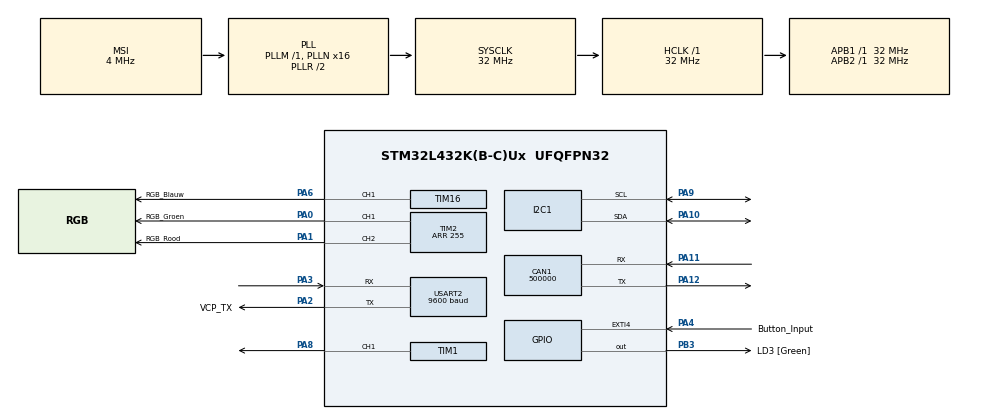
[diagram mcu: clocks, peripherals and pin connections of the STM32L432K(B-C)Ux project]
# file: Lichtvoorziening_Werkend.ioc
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CAN1.BS1=CAN_BS1_2TQ
CAN1.CalculateBaudRate=500000
CAN1.CalculateTimeBit=2000
CAN1.CalculateTimeQuantum=500.0
CAN1.NART=ENABLE
Dma.Request0=TIM1_CH1
Dma.TIM1_CH1.0.Direction=DMA_MEMORY_TO_PERIPH
Dma.TIM1_CH1.0.Instance=DMA1_Channel2
Dma.TIM1_CH1.0.MemDataAlignment=DMA_MDATAALIGN_HALFWORD
Dma.TIM1_CH1.0.MemInc=DMA_MINC_ENABLE
Dma.TIM1_CH1.0.Mode=DMA_CIRCULAR
Dma.TIM1_CH1.0.PeriphDataAlignment=DMA_PDATAALIGN_HALFWORD
Dma.TIM1_CH1.0.PeriphInc=DMA_PINC_DISABLE
Dma.TIM1_CH1.0.Priority=DMA_PRIORITY_LOW
I2C1.Timing=0x00B07CB4
Mcu.Family=STM32L4
Mcu.Name=STM32L432K(B-C)Ux
Mcu.Package=UFQFPN32
NVIC.CAN1_RX0_IRQn=true\:0\:0\:false\:false\:true\:true\:true\:true
NVIC.DMA1_Channel2_IRQn=true\:0\:0\:false\:false\:true\:false\:true\:true
NVIC.EXTI4_IRQn=true\:0\:0\:false\:false\:true\:true\:true\:true
NVIC.PriorityGroup=NVIC_PRIORITYGROUP_4
PA0.GPIO_Label=RGB_Groen
PA0.Signal=S_TIM2_CH1
PA1.GPIO_Label=RGB_Rood
PA1.Signal=S_TIM2_CH2
PA10.GPIO_Pu=GPIO_PULLUP
PA10.Mode=I2C
PA10.Signal=I2C1_SDA
PA11.Mode=CAN_Activate
PA11.Signal=CAN1_RX
PA12.Mode=CAN_Activate
PA12.Signal=CAN1_TX
PA13\ (JTMS-SWDIO).GPIO_Label=SWDIO
PA13\ (JTMS-SWDIO).Mode=Serial_Wire
PA13\ (JTMS-SWDIO).Signal=SYS_JTMS-SWDIO
PA14\ (JTCK-SWCLK).GPIO_Label=SWCLK
PA14\ (JTCK-SWCLK).Mode=Serial_Wire
PA14\ (JTCK-SWCLK).Signal=SYS_JTCK-SWCLK
PA2.GPIO_Label=VCP_TX
PA2.Mode=Asynchronous
PA2.Signal=USART2_TX
PA3.Mode=Asynchronous
PA3.Signal=USART2_RX
PA4.GPIO_Label=Button_Input
PA4.GPIO_ModeDefaultEXTI=GPIO_MODE_IT_FALLING
PA4.GPIO_PuPd=GPIO_PULLUP
PA4.Signal=GPXTI4
PA6.GPIO_Label=RGB_Blauw
PA6.Signal=S_TIM16_CH1
PA8.Signal=S_TIM1_CH1
PA9.GPIO_Pu=GPIO_PULLUP
PA9.Mode=I2C
PA9.Signal=I2C1_SCL
PB3\ (JTDO-TRACESWO).GPIO_Label=LD3 [Green]
PB3\ (JTDO-TRACESWO).Signal=GPIO_Output
PC14-OSC32_IN\ (PC14).Mode=LSE-External-Oscillator
PC14-OSC32_IN\ (PC14).Signal=RCC_OSC32_IN
PC15-OSC32_OUT\ (PC15).Mode=LSE-External-Oscillator
PC15-OSC32_OUT\ (PC15).Signal=RCC_OSC32_OUT
ProjectManager.HeapSize=0x200
ProjectManager.StackSize=0x400
ProjectManager.TargetToolchain=STM32CubeIDE
RCC.AHBFreq_Value=32000000
RCC.APB1Freq_Value=32000000
RCC.APB1TimFreq_Value=32000000
RCC.APB2Freq_Value=32000000
RCC.APB2TimFreq_Value=32000000
RCC.CortexFreq_Value=32000000
RCC.HCLKFreq_Value=32000000
RCC.HSE_VALUE=8000000
RCC.HSI16_VALUE=16000000
RCC.HSI48_VALUE=48000000
RCC.HSI_VALUE=16000000
RCC.MSI_VALUE=4000000
RCC.PLLMUL=RCC_PLLMUL_4
RCC.PLLN=16
RCC.SYSCLKFreq_VALUE=32000000
RCC.SYSCLKSource=RCC_SYSCLKSOURCE_PLLCLK
RCC.VCOOutputFreq_Value=64000000
SH.S_TIM16_CH1.0=TIM16_CH1,PWM Generation1 CH1
SH.S_TIM1_CH1.0=TIM1_CH1,PWM Generation1 CH1
SH.S_TIM2_CH1.0=TIM2_CH1,PWM Generation1 CH1
SH.S_TIM2_CH2.0=TIM2_CH2,PWM Generation2 CH2
TIM1.Channel-PWM\ Generation1\ CH1=TIM_CHANNEL_1
TIM1.Channel-PWM\ Generation3\ CH3=TIM_CHANNEL_3
TIM1.Period=99
TIM1.Pulse-PWM\ Generation1\ CH1=32
TIM16.Channel=TIM_CHANNEL_1
TIM16.Period=255
TIM16.Prescaler=124
TIM2.Channel-PWM\ Generation1\ CH1=TIM_CHANNEL_1
TIM2.Channel-PWM\ Generation2\ CH2=TIM_CHANNEL_2
TIM2.Period=255
USART2.BaudRate=9600
USART2.VirtualMode-Asynchronous=VM_ASYNC
VP_TIM16_VS_ClockSourceINT.Mode=Enable_Timer
board=NUCLEO-L432KC

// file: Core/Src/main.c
/* USER CODE BEGIN Header */
/**
 ******************************************************************************
 * @file           : main.c
 * @brief          : Main program body
 ******************************************************************************
 * @attention
 *
 * Copyright (c) 2026 STMicroelectronics.
 * All rights reserved.
 *
 * This software is licensed under terms that can be found in the LICENSE file
 * in the root directory of this software component.
 * If no LICENSE file comes with this software, it is provided AS-IS.
 *
 ******************************************************************************
 */
/* USER CODE END Header */
#include "main.h"

/* USER CODE BEGIN Includes */
#include "ws2812b.h"
#include <string.h>
#include <stdio.h>
/* USER CODE END Includes */

CAN_HandleTypeDef hcan1;

I2C_HandleTypeDef hi2c1;

TIM_HandleTypeDef htim1;
TIM_HandleTypeDef htim2;
TIM_HandleTypeDef htim16;
DMA_HandleTypeDef hdma_tim1_ch1;

UART_HandleTypeDef huart2;

/* USER CODE BEGIN PV */
volatile uint8_t button_pressed = 0;
volatile uint32_t last_sensor_tick = 0;
volatile uint32_t led_on_tick = 0;
volatile uint8_t led_on = 0;
volatile uint32_t canbusTick = 0;
volatile uint32_t cooldown_tick = 0;

CAN_TxHeaderTypeDef TxHeader;
CAN_RxHeaderTypeDef RxHeader;
uint8_t TxData[8];
uint8_t RxData[8];
uint32_t TxMailbox;
uint8_t datacheck = 0;
uint8_t RTRReceived = 0;

uint8_t huidigeKleur = 10;
volatile uint8_t noodActief = 0;
uint8_t helderheid = 255;

typedef struct {
	uint8_t r;
	uint8_t g;
	uint8_t b;
} Color;

static const Color mc_colors[26] = { { 0, 0, 170 },       // 0 Blue
		{ 0, 170, 0 },       // 1 Green
		{ 0, 170, 170 },     // 2 Aqua
		{ 170, 0, 0 },       // 3 Red
		{ 170, 0, 170 },     // 4 Purple
		{ 255, 170, 0 },     // 5 Amber
		{ 85, 85, 255 },     // 6 licht blauw
		{ 85, 255, 85 },     // 7 mint Green
		{ 255, 85, 85 },     // 8 Roze
		{ 255, 85, 255 },    // 9 Light Purple
		{ 255, 255, 40 },    // 10 licht Geel
		{ 255, 255, 255 },   // 11 White
		};
/* USER CODE END PV */

void SystemClock_Config(void);
static void MX_GPIO_Init(void);
static void MX_DMA_Init(void);
static void MX_I2C1_Init(void);
static void MX_TIM1_Init(void);
static void MX_USART2_UART_Init(void);
static void MX_CAN1_Init(void);
static void MX_TIM2_Init(void);
static void MX_TIM16_Init(void);
/* USER CODE BEGIN PFP */
void SGP30_Init(void);
uint16_t SGP30_ReadCO2(void);
static void chase_tick(int step);
void SHT3x_Read(float *temp);
void SendCanMessage(int dataLength, uint64_t data, uint16_t canID);
/* USER CODE END PFP */

/* USER CODE BEGIN 0 */
void Safe_Delay(int ms) {
	uint32_t start = HAL_GetTick();
	while (HAL_GetTick() - start < ms) {
		if (noodActief)
			return;
	}
}

void SGP30_Init(void) {
	uint8_t cmd[2] = { 0x20, 0x03 };
	HAL_I2C_Master_Transmit(&hi2c1, 0x58 << 1, cmd, 2, HAL_MAX_DELAY);
}

uint16_t SGP30_ReadCO2(void) {
	uint8_t cmd[2] = { 0x20, 0x08 };
	HAL_I2C_Master_Transmit(&hi2c1, 0x58 << 1, cmd, 2, HAL_MAX_DELAY);

	uint32_t start = HAL_GetTick();
	while (HAL_GetTick() - start < 12)
		;

	uint8_t buf[6];
	HAL_I2C_Master_Receive(&hi2c1, 0x58 << 1, buf, 6, HAL_MAX_DELAY);

	return (uint16_t) ((buf[0] << 8) | buf[1]);
}

static void chase_tick(int step) {
	WS2812B_Clear();
	int spacing = WS2812B_NUM_LEDS / 3;

	for (int r = 0; r < 3; r++) {
		int i = (step + r * spacing) % WS2812B_NUM_LEDS;

		WS2812B_SetLED(i, 8, 0, 0);
		if (i - 1 >= 0)
			WS2812B_SetLED(i - 1, 25, 0, 0);
		if (i - 2 >= 0)
			WS2812B_SetLED(i - 2, 80, 0, 0);
	}
}

void RGB_Set(uint8_t r, uint8_t g, uint8_t b, uint8_t helderheid) {
	// scale 0–255 brightness
	uint16_t rr = (r * helderheid) / 255;
	uint16_t gg = (g * helderheid) / 255;
	uint16_t bb = (b * helderheid) / 255;

	__HAL_TIM_SET_COMPARE(&htim2, TIM_CHANNEL_1, gg);
	__HAL_TIM_SET_COMPARE(&htim2, TIM_CHANNEL_2, rr);
	__HAL_TIM_SET_COMPARE(&htim16, TIM_CHANNEL_1, bb);
}
/* USER CODE END 0 */

int main(void)
{

  /* MCU Configuration--------------------------------------------------------*/

  /* Reset of all peripherals, Initializes the Flash interface and the Systick. */
  HAL_Init();

  /* Configure the system clock */
  SystemClock_Config();

  /* Initialize all configured peripherals */
  MX_GPIO_Init();
  MX_DMA_Init();
  MX_I2C1_Init();
  MX_TIM1_Init();
  MX_USART2_UART_Init();
  MX_CAN1_Init();
  MX_TIM2_Init();
  MX_TIM16_Init();
  /* USER CODE BEGIN 2 */
	char startup[] = "STM32 gestart!\r\n";
	HAL_UART_Transmit(&huart2, (uint8_t*) startup, strlen(startup), 1000);
	SGP30_Init();
	WS2812B_Init();
	HAL_TIM_PWM_Start(&htim2, TIM_CHANNEL_1); // Red
	HAL_TIM_PWM_Start(&htim2, TIM_CHANNEL_2); // Green
	HAL_TIM_PWM_Start(&htim16, TIM_CHANNEL_1); // Blue

	for (int i = 0; i < WS2812B_NUM_LEDS; i++) {
		WS2812B_SetLED(i, 255, 255, 255);
	}

	CAN_FilterTypeDef canfilterconfig;

	/* Common filter settings */
	canfilterconfig.FilterActivation = CAN_FILTER_ENABLE;
	canfilterconfig.FilterFIFOAssignment = CAN_FILTER_FIFO0;
	canfilterconfig.FilterMode = CAN_FILTERMODE_IDMASK;
	canfilterconfig.FilterScale = CAN_FILTERSCALE_32BIT;
	canfilterconfig.SlaveStartFilterBank = 10;

	/* Filter 0 -> 0x200 */
	canfilterconfig.FilterBank = 0;
	canfilterconfig.FilterIdHigh = (0x001 << 5);
	canfilterconfig.FilterIdLow = 0;
	canfilterconfig.FilterMaskIdHigh = (0x7FF << 5);
	canfilterconfig.FilterMaskIdLow = 0;
	HAL_CAN_ConfigFilter(&hcan1, &canfilterconfig);

	/* Filter 1 -> 0x210 */
	canfilterconfig.FilterBank = 1;
	canfilterconfig.FilterIdHigh = (0x100 << 5);
	HAL_CAN_ConfigFilter(&hcan1, &canfilterconfig);

	/* Filter 2 -> 0x001 */
	canfilterconfig.FilterBank = 2;
	canfilterconfig.FilterIdHigh = (0x110 << 5);
	HAL_CAN_ConfigFilter(&hcan1, &canfilterconfig);

	/* Filter 3 -> 0x300 */
	canfilterconfig.FilterBank = 3;
	canfilterconfig.FilterIdHigh = (0x410 << 5);
	HAL_CAN_ConfigFilter(&hcan1, &canfilterconfig);

	/* Filter 4 -> 0x310 */
	canfilterconfig.FilterBank = 4;
	canfilterconfig.FilterIdHigh = (0x420 << 5);
	HAL_CAN_ConfigFilter(&hcan1, &canfilterconfig);

	if (HAL_CAN_Start(&hcan1) != HAL_OK) {
		Error_Handler();
	}

	TxHeader.IDE = CAN_ID_STD;
	TxHeader.RTR = CAN_RTR_DATA;
	TxHeader.DLC = 1;

	if (HAL_CAN_ActivateNotification(&hcan1, CAN_IT_RX_FIFO0_MSG_PENDING)
			!= HAL_OK) {
		Error_Handler();
	}
	HAL_Delay(100);
  /* USER CODE END 2 */

  /* Infinite loop */
  /* USER CODE BEGIN WHILE */
	while (1) {
		if (!led_on) {
		    led_on_tick = HAL_GetTick();
		    for (int i = 0; i <= WS2812B_NUM_LEDS; i++) {
		        WS2812B_SetLED(i, 0, 0, 0);
		    }
		}

		if (button_pressed) {
		    button_pressed = 0;
		    if (!led_on && (HAL_GetTick() - cooldown_tick >= 5000)) {
		        led_on = 1;
		        Color c = mc_colors[huidigeKleur];
		        RGB_Set(c.r, c.g, c.b, helderheid);
		        for (int i = 0; i < WS2812B_NUM_LEDS; i++) {
		            WS2812B_SetLED(i, (c.r * helderheid) / 255,
		                    (c.g * helderheid) / 255, (c.b * helderheid) / 255);
		        }
		    }
		    led_on_tick = HAL_GetTick();
		}

		if (led_on) {
			Color c = mc_colors[huidigeKleur];
			RGB_Set(c.r, c.g, c.b, helderheid);

			for (int i = 0; i < WS2812B_NUM_LEDS; i++) {
				WS2812B_SetLED(i, (c.r * helderheid) / 255,
						(c.g * helderheid) / 255, (c.b * helderheid) / 255);
			}
		}

		if (led_on && (HAL_GetTick() - led_on_tick >= 10000)) {
		    RGB_Set(0, 0, 0, 0);
		    for (int i = 0; i < WS2812B_NUM_LEDS; i++) {
		        WS2812B_SetLED(i, 0, 0, 0);
		    }
		    led_on = 0;
		    cooldown_tick = HAL_GetTick();
		}

		if (HAL_GetTick() - canbusTick >= 10000) {
			canbusTick = HAL_GetTick();
			uint16_t eco2 = SGP30_ReadCO2();
			float temp = 0.0f;
			SHT3x_Read(&temp);
			int t_int = (int) temp;
			SendCanMessage(2, (uint64_t) eco2, 0x300);
			SendCanMessage(1, (uint64_t) t_int, 0x310);
		}
		static int step = 0;
		while (noodActief) {
			chase_tick(step++);
			HAL_Delay(60);
		}
    /* USER CODE END WHILE */

	}
}

void SystemClock_Config(void)
{
  RCC_OscInitTypeDef RCC_OscInitStruct = {0};
  RCC_ClkInitTypeDef RCC_ClkInitStruct = {0};

  /** Configure the main internal regulator output voltage
  */
  if (HAL_PWREx_ControlVoltageScaling(PWR_REGULATOR_VOLTAGE_SCALE1) != HAL_OK)
  {
    Error_Handler();
  }

  /** Configure LSE Drive Capability
  */
  HAL_PWR_EnableBkUpAccess();
  __HAL_RCC_LSEDRIVE_CONFIG(RCC_LSEDRIVE_LOW);

  /** Initializes the RCC Oscillators according to the specified parameters
  * in the RCC_OscInitTypeDef structure.
  */
  RCC_OscInitStruct.OscillatorType = RCC_OSCILLATORTYPE_LSE|RCC_OSCILLATORTYPE_MSI;
  RCC_OscInitStruct.LSEState = RCC_LSE_ON;
  RCC_OscInitStruct.MSIState = RCC_MSI_ON;
  RCC_OscInitStruct.MSICalibrationValue = 0;
  RCC_OscInitStruct.MSIClockRange = RCC_MSIRANGE_6;
  RCC_OscInitStruct.PLL.PLLState = RCC_PLL_ON;
  RCC_OscInitStruct.PLL.PLLSource = RCC_PLLSOURCE_MSI;
  RCC_OscInitStruct.PLL.PLLM = 1;
  RCC_OscInitStruct.PLL.PLLN = 16;
  RCC_OscInitStruct.PLL.PLLP = RCC_PLLP_DIV7;
  RCC_OscInitStruct.PLL.PLLQ = RCC_PLLQ_DIV2;
  RCC_OscInitStruct.PLL.PLLR = RCC_PLLR_DIV2;
  if (HAL_RCC_OscConfig(&RCC_OscInitStruct) != HAL_OK)
  {
    Error_Handler();
  }

  /** Initializes the CPU, AHB and APB buses clocks
  */
  RCC_ClkInitStruct.ClockType = RCC_CLOCKTYPE_HCLK|RCC_CLOCKTYPE_SYSCLK
                              |RCC_CLOCKTYPE_PCLK1|RCC_CLOCKTYPE_PCLK2;
  RCC_ClkInitStruct.SYSCLKSource = RCC_SYSCLKSOURCE_PLLCLK;
  RCC_ClkInitStruct.AHBCLKDivider = RCC_SYSCLK_DIV1;
  RCC_ClkInitStruct.APB1CLKDivider = RCC_HCLK_DIV1;
  RCC_ClkInitStruct.APB2CLKDivider = RCC_HCLK_DIV1;

  if (HAL_RCC_ClockConfig(&RCC_ClkInitStruct, FLASH_LATENCY_1) != HAL_OK)
  {
    Error_Handler();
  }

  /** Enable MSI Auto calibration
  */
  HAL_RCCEx_EnableMSIPLLMode();
}

static void MX_CAN1_Init(void)
{

  hcan1.Instance = CAN1;
  hcan1.Init.Prescaler = 16;
  hcan1.Init.Mode = CAN_MODE_NORMAL;
  hcan1.Init.SyncJumpWidth = CAN_SJW_1TQ;
  hcan1.Init.TimeSeg1 = CAN_BS1_2TQ;
  hcan1.Init.TimeSeg2 = CAN_BS2_1TQ;
  hcan1.Init.TimeTriggeredMode = DISABLE;
  hcan1.Init.AutoBusOff = DISABLE;
  hcan1.Init.AutoWakeUp = DISABLE;
  hcan1.Init.AutoRetransmission = ENABLE;
  hcan1.Init.ReceiveFifoLocked = DISABLE;
  hcan1.Init.TransmitFifoPriority = DISABLE;
  if (HAL_CAN_Init(&hcan1) != HAL_OK)
  {
    Error_Handler();
  }

}

static void MX_I2C1_Init(void)
{

  hi2c1.Instance = I2C1;
  hi2c1.Init.Timing = 0x00B07CB4;
  hi2c1.Init.OwnAddress1 = 0;
  hi2c1.Init.AddressingMode = I2C_ADDRESSINGMODE_7BIT;
  hi2c1.Init.DualAddressMode = I2C_DUALADDRESS_DISABLE;
  hi2c1.Init.OwnAddress2 = 0;
  hi2c1.Init.OwnAddress2Masks = I2C_OA2_NOMASK;
  hi2c1.Init.GeneralCallMode = I2C_GENERALCALL_DISABLE;
  hi2c1.Init.NoStretchMode = I2C_NOSTRETCH_DISABLE;
  if (HAL_I2C_Init(&hi2c1) != HAL_OK)
  {
    Error_Handler();
  }

  /** Configure Analogue filter
  */
  if (HAL_I2CEx_ConfigAnalogFilter(&hi2c1, I2C_ANALOGFILTER_ENABLE) != HAL_OK)
  {
    Error_Handler();
  }

  /** Configure Digital filter
  */
  if (HAL_I2CEx_ConfigDigitalFilter(&hi2c1, 0) != HAL_OK)
  {
    Error_Handler();
  }

}

static void MX_TIM1_Init(void)
{

  TIM_MasterConfigTypeDef sMasterConfig = {0};
  TIM_OC_InitTypeDef sConfigOC = {0};
  TIM_BreakDeadTimeConfigTypeDef sBreakDeadTimeConfig = {0};

  htim1.Instance = TIM1;
  htim1.Init.Prescaler = 0;
  htim1.Init.CounterMode = TIM_COUNTERMODE_UP;
  htim1.Init.Period = 99;
  htim1.Init.ClockDivision = TIM_CLOCKDIVISION_DIV1;
  htim1.Init.RepetitionCounter = 0;
  htim1.Init.AutoReloadPreload = TIM_AUTORELOAD_PRELOAD_DISABLE;
  if (HAL_TIM_PWM_Init(&htim1) != HAL_OK)
  {
    Error_Handler();
  }
  sMasterConfig.MasterOutputTrigger = TIM_TRGO_RESET;
  sMasterConfig.MasterOutputTrigger2 = TIM_TRGO2_RESET;
  sMasterConfig.MasterSlaveMode = TIM_MASTERSLAVEMODE_DISABLE;
  if (HAL_TIMEx_MasterConfigSynchronization(&htim1, &sMasterConfig) != HAL_OK)
  {
    Error_Handler();
  }
  sConfigOC.OCMode = TIM_OCMODE_PWM1;
  sConfigOC.Pulse = 32;
  sConfigOC.OCPolarity = TIM_OCPOLARITY_HIGH;
  sConfigOC.OCNPolarity = TIM_OCNPOLARITY_HIGH;
  sConfigOC.OCFastMode = TIM_OCFAST_DISABLE;
  sConfigOC.OCIdleState = TIM_OCIDLESTATE_RESET;
  sConfigOC.OCNIdleState = TIM_OCNIDLESTATE_RESET;
  if (HAL_TIM_PWM_ConfigChannel(&htim1, &sConfigOC, TIM_CHANNEL_1) != HAL_OK)
  {
    Error_Handler();
  }
  sBreakDeadTimeConfig.OffStateRunMode = TIM_OSSR_DISABLE;
  sBreakDeadTimeConfig.OffStateIDLEMode = TIM_OSSI_DISABLE;
  sBreakDeadTimeConfig.LockLevel = TIM_LOCKLEVEL_OFF;
  sBreakDeadTimeConfig.DeadTime = 0;
  sBreakDeadTimeConfig.BreakState = TIM_BREAK_DISABLE;
  sBreakDeadTimeConfig.BreakPolarity = TIM_BREAKPOLARITY_HIGH;
  sBreakDeadTimeConfig.BreakFilter = 0;
  sBreakDeadTimeConfig.Break2State = TIM_BREAK2_DISABLE;
  sBreakDeadTimeConfig.Break2Polarity = TIM_BREAK2POLARITY_HIGH;
  sBreakDeadTimeConfig.Break2Filter = 0;
  sBreakDeadTimeConfig.AutomaticOutput = TIM_AUTOMATICOUTPUT_DISABLE;
  if (HAL_TIMEx_ConfigBreakDeadTime(&htim1, &sBreakDeadTimeConfig) != HAL_OK)
  {
    Error_Handler();
  }
  HAL_TIM_MspPostInit(&htim1);

}

static void MX_TIM2_Init(void)
{

  TIM_MasterConfigTypeDef sMasterConfig = {0};
  TIM_OC_InitTypeDef sConfigOC = {0};

  htim2.Instance = TIM2;
  htim2.Init.Prescaler = 0;
  htim2.Init.CounterMode = TIM_COUNTERMODE_UP;
  htim2.Init.Period = 255;
  htim2.Init.ClockDivision = TIM_CLOCKDIVISION_DIV1;
  htim2.Init.AutoReloadPreload = TIM_AUTORELOAD_PRELOAD_DISABLE;
  if (HAL_TIM_PWM_Init(&htim2) != HAL_OK)
  {
    Error_Handler();
  }
  sMasterConfig.MasterOutputTrigger = TIM_TRGO_RESET;
  sMasterConfig.MasterSlaveMode = TIM_MASTERSLAVEMODE_DISABLE;
  if (HAL_TIMEx_MasterConfigSynchronization(&htim2, &sMasterConfig) != HAL_OK)
  {
    Error_Handler();
  }
  sConfigOC.OCMode = TIM_OCMODE_PWM1;
  sConfigOC.Pulse = 0;
  sConfigOC.OCPolarity = TIM_OCPOLARITY_HIGH;
  sConfigOC.OCFastMode = TIM_OCFAST_DISABLE;
  if (HAL_TIM_PWM_ConfigChannel(&htim2, &sConfigOC, TIM_CHANNEL_1) != HAL_OK)
  {
    Error_Handler();
  }
  if (HAL_TIM_PWM_ConfigChannel(&htim2, &sConfigOC, TIM_CHANNEL_2) != HAL_OK)
  {
    Error_Handler();
  }
  HAL_TIM_MspPostInit(&htim2);

}

static void MX_TIM16_Init(void)
{

  TIM_OC_InitTypeDef sConfigOC = {0};
  TIM_BreakDeadTimeConfigTypeDef sBreakDeadTimeConfig = {0};

  htim16.Instance = TIM16;
  htim16.Init.Prescaler = 124;
  htim16.Init.CounterMode = TIM_COUNTERMODE_UP;
  htim16.Init.Period = 255;
  htim16.Init.ClockDivision = TIM_CLOCKDIVISION_DIV1;
  htim16.Init.RepetitionCounter = 0;
  htim16.Init.AutoReloadPreload = TIM_AUTORELOAD_PRELOAD_DISABLE;
  if (HAL_TIM_Base_Init(&htim16) != HAL_OK)
  {
    Error_Handler();
  }
  if (HAL_TIM_PWM_Init(&htim16) != HAL_OK)
  {
    Error_Handler();
  }
  sConfigOC.OCMode = TIM_OCMODE_PWM1;
  sConfigOC.Pulse = 0;
  sConfigOC.OCPolarity = TIM_OCPOLARITY_HIGH;
  sConfigOC.OCNPolarity = TIM_OCNPOLARITY_HIGH;
  sConfigOC.OCFastMode = TIM_OCFAST_DISABLE;
  sConfigOC.OCIdleState = TIM_OCIDLESTATE_RESET;
  sConfigOC.OCNIdleState = TIM_OCNIDLESTATE_RESET;
  if (HAL_TIM_PWM_ConfigChannel(&htim16, &sConfigOC, TIM_CHANNEL_1) != HAL_OK)
  {
    Error_Handler();
  }
  sBreakDeadTimeConfig.OffStateRunMode = TIM_OSSR_DISABLE;
  sBreakDeadTimeConfig.OffStateIDLEMode = TIM_OSSI_DISABLE;
  sBreakDeadTimeConfig.LockLevel = TIM_LOCKLEVEL_OFF;
  sBreakDeadTimeConfig.DeadTime = 0;
  sBreakDeadTimeConfig.BreakState = TIM_BREAK_DISABLE;
  sBreakDeadTimeConfig.BreakPolarity = TIM_BREAKPOLARITY_HIGH;
  sBreakDeadTimeConfig.AutomaticOutput = TIM_AUTOMATICOUTPUT_DISABLE;
  if (HAL_TIMEx_ConfigBreakDeadTime(&htim16, &sBreakDeadTimeConfig) != HAL_OK)
  {
    Error_Handler();
  }
  HAL_TIM_MspPostInit(&htim16);

}

static void MX_USART2_UART_Init(void)
{

  huart2.Instance = USART2;
  huart2.Init.BaudRate = 9600;
  huart2.Init.WordLength = UART_WORDLENGTH_8B;
  huart2.Init.StopBits = UART_STOPBITS_1;
  huart2.Init.Parity = UART_PARITY_NONE;
  huart2.Init.Mode = UART_MODE_TX_RX;
  huart2.Init.HwFlowCtl = UART_HWCONTROL_NONE;
  huart2.Init.OverSampling = UART_OVERSAMPLING_16;
  huart2.Init.OneBitSampling = UART_ONE_BIT_SAMPLE_DISABLE;
  huart2.AdvancedInit.AdvFeatureInit = UART_ADVFEATURE_NO_INIT;
  if (HAL_UART_Init(&huart2) != HAL_OK)
  {
    Error_Handler();
  }

}

static void MX_DMA_Init(void)
{

  /* DMA controller clock enable */
  __HAL_RCC_DMA1_CLK_ENABLE();

  /* DMA interrupt init */
  /* DMA1_Channel2_IRQn interrupt configuration */
  HAL_NVIC_SetPriority(DMA1_Channel2_IRQn, 0, 0);
  HAL_NVIC_EnableIRQ(DMA1_Channel2_IRQn);

}

static void MX_GPIO_Init(void)
{
  GPIO_InitTypeDef GPIO_InitStruct = {0};

  /* GPIO Ports Clock Enable */
  __HAL_RCC_GPIOC_CLK_ENABLE();
  __HAL_RCC_GPIOA_CLK_ENABLE();
  __HAL_RCC_GPIOB_CLK_ENABLE();

  /*Configure GPIO pin Output Level */
  HAL_GPIO_WritePin(LD3_GPIO_Port, LD3_Pin, GPIO_PIN_RESET);

  /*Configure GPIO pin : Button_Input_Pin */
  GPIO_InitStruct.Pin = Button_Input_Pin;
  GPIO_InitStruct.Mode = GPIO_MODE_IT_RISING;
  GPIO_InitStruct.Pull = GPIO_NOPULL;
  HAL_GPIO_Init(Button_Input_GPIO_Port, &GPIO_InitStruct);

  /*Configure GPIO pin : LD3_Pin */
  GPIO_InitStruct.Pin = LD3_Pin;
  GPIO_InitStruct.Mode = GPIO_MODE_OUTPUT_PP;
  GPIO_InitStruct.Pull = GPIO_NOPULL;
  GPIO_InitStruct.Speed = GPIO_SPEED_FREQ_LOW;
  HAL_GPIO_Init(LD3_GPIO_Port, &GPIO_InitStruct);

  /* EXTI interrupt init*/
  HAL_NVIC_SetPriority(EXTI4_IRQn, 0, 0);
  HAL_NVIC_EnableIRQ(EXTI4_IRQn);

}

/* USER CODE BEGIN 4 */
void HAL_CAN_RxFifo0MsgPendingCallback(CAN_HandleTypeDef *hcan) {
	if (HAL_CAN_GetRxMessage(hcan, CAN_RX_FIFO0, &RxHeader, RxData) != HAL_OK) {
		Error_Handler();
	}

	char msg[] = "CAN ontvangen!\r\n";
	HAL_UART_Transmit(&huart2, (uint8_t*) msg, sizeof(msg) - 1,
	HAL_MAX_DELAY);
//  if ((RxHeader.StdId == 0x113)) {
//	  if (RxData[0] == 0x01) {
//		  datacheck = 1;
//	  } else if (RxData[0] == 0x02) {
//		  datacheck =0;
//	  }
//  }

//  if (RxHeader.RTR == CAN_RTR_REMOTE && RxHeader.StdId == 0x112) {
//	  RTRReceived = 1;
//  }
	if ((RxHeader.StdId == 0x001)) {
		if (RxData[0] == 0x01) {
			noodActief = 1;
		}
		if (RxData[0] == 0x00) {
			noodActief = 0;
		}
	}
	if (RxHeader.StdId == 0x100) {
		uint8_t value = RxData[0];
		if (value >= 0 && value <= 11) {
			huidigeKleur = value;
		}
	}
	if (RxHeader.StdId == 0x110) {
		uint8_t value = RxData[0];

		if (value <= 255) {
			helderheid = value;
		}
	}
}

void SendCanMessage(int dataLength, uint64_t data, uint16_t canID) {
	uint8_t tempData[8] = { data, data >> 8, data >> 16, data >> 24, data >> 32,
			data >> 40, data >> 48, data >> 56 };
	int y = 0;
	for (int i = dataLength - 1; i >= 0; i--) {
		TxData[i] = tempData[y];
		y++;
	}
	TxHeader.DLC = dataLength;
	TxHeader.StdId = canID;

	if (HAL_CAN_AddTxMessage(&hcan1, &TxHeader, TxData, &TxMailbox) != HAL_OK) {
		Error_Handler();
	}
}

void HAL_GPIO_EXTI_Callback(uint16_t GPIO_Pin) {
    static uint32_t last_tick = 0;
    if (GPIO_Pin == Button_Input_Pin) {
        uint32_t now = HAL_GetTick();
        if (now - last_tick > 200) {
            button_pressed = 1;
            last_tick = now;
            char msg[] = "Beweging gedetecteerd!\r\n";
            HAL_UART_Transmit(&huart2, (uint8_t*)msg, strlen(msg), 1000);
        }
    }
}

void HAL_TIM_PWM_PulseFinishedHalfCpltCallback(TIM_HandleTypeDef *htim) {
	if (htim->Instance == TIM1)
		WS2812B_DMA_HalfCpltCallback();
}

void HAL_TIM_PWM_PulseFinishedCallback(TIM_HandleTypeDef *htim) {
	if (htim->Instance == TIM1)
		WS2812B_DMA_CpltCallback();
}

void SHT3x_Read(float *temp) {
	uint8_t cmd[2] = { 0x24, 0x00 };
	uint8_t data[6];

	HAL_I2C_Master_Transmit(&hi2c1, 0x44 << 1, cmd, 2, HAL_MAX_DELAY);
	HAL_Delay(15);
	HAL_I2C_Master_Receive(&hi2c1, 0x44 << 1, data, 6, HAL_MAX_DELAY);

	uint16_t rawTemp = (data[0] << 8) | data[1];
	*temp = -45.0f + 175.0f * ((float) rawTemp / 65535.0f);
}
/* USER CODE END 4 */

void Error_Handler(void)
{
	__disable_irq();
	while (1) {
	}
}
